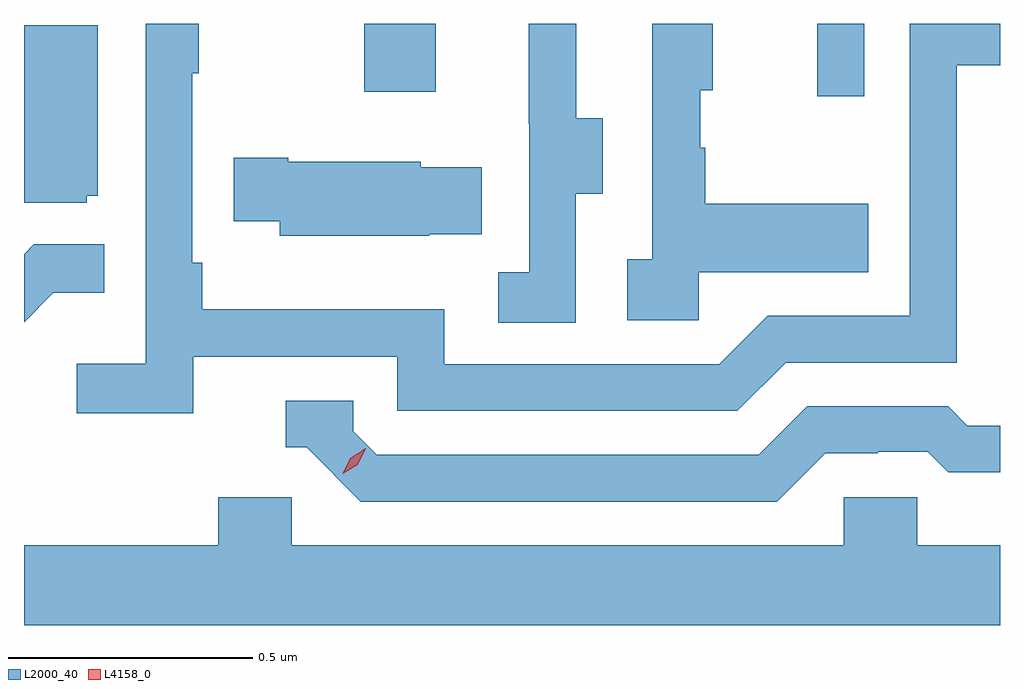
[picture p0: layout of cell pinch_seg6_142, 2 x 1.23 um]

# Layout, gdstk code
import gdstk
lib = gdstk.Library(unit=1e-6, precision=1e-09)
def R(c, l, rs):  # rectangles x0, y0, x1, y1
    for r in rs: c.add(gdstk.rectangle(r[:2], r[2:], *l))
def P(c, l, *ps):  # polygons
    for p in ps: c.add(gdstk.Polygon(p, *l))
L2000_40 = (2000, 40)
L4158_0 = (4158, 0)

pinch_seg6_142 = lib.new_cell('pinch_seg6_142')
R(pinch_seg6_142, L2000_40, [(999.698,917.784,999.795,917.932), (998.77,917.793,998.917,917.932)])
P(pinch_seg6_142, L2000_40, [(998.42,917.25),(998.838,917.25),(998.838,917.139),(999.535,917.139),(999.634,917.238),(999.984,917.238),(999.984,917.847),(1000.073,917.847),(1000.073,917.932),(999.888,917.932),(999.888,917.334),(999.597,917.334),(999.498,917.235),(998.934,917.235),(998.934,917.347),(998.438,917.347),(998.438,917.443),(998.418,917.443),(998.418,917.831),(998.431,917.831),(998.431,917.932),(998.322,917.932),(998.322,917.236),(998.181,917.236),(998.181,917.134),(998.42,917.134)],
  [(999.204,917.584),(999.259,917.584),(999.259,917.739),(999.205,917.739),(999.205,917.932),(999.107,917.932),(999.107,917.727),(999.108,917.727),(999.108,917.423),(999.045,917.423),(999.045,917.32),(999.204,917.32)],
  [(999.456,917.423),(999.803,917.423),(999.803,917.563),(999.469,917.563),(999.469,917.678),(999.459,917.678),(999.459,917.796),(999.484,917.796),(999.484,917.932),(999.36,917.932),(999.36,917.45),(999.309,917.45),(999.309,917.325),(999.456,917.325)],
  [(998.202,917.58),(998.224,917.58),(998.224,917.929),(998.073,917.929),(998.073,917.565),(998.202,917.565)],
  [(998.903,917.501),(999.011,917.501),(999.011,917.638),(998.886,917.638),(998.886,917.65),(998.614,917.65),(998.614,917.658),(998.503,917.658),(998.503,917.528),(998.597,917.528),(998.597,917.498),(998.903,917.498)],
  [(998.133,917.381),(998.237,917.381),(998.237,917.48),(998.093,917.48),(998.073,917.46),(998.073,917.321)],
  [(999.715,917.052),(999.822,917.052),(999.822,917.055),(999.925,917.055),(999.967,917.013),(1000.073,917.013),(1000.073,917.109),(1000.006,917.109),(999.967,917.148),(999.678,917.148),(999.579,917.049),(998.796,917.049),(998.748,917.097),(998.748,917.16),(998.609,917.16),(998.609,917.064),(998.652,917.064),(998.763,916.953),(999.616,916.953)],
  [(1000.073,916.864),(999.903,916.864),(999.903,916.962),(999.753,916.962),(999.753,916.864),(998.622,916.864),(998.622,916.962),(998.471,916.962),(998.471,916.864),(998.073,916.864),(998.073,916.7),(1000.073,916.7)])
P(pinch_seg6_142, L4158_0, [(998.726,917.01),(998.726,917.01),(998.742,917.042),(998.773,917.062),(998.773,917.062),(998.773,917.061),(998.757,917.029),(998.726,917.01)])

lib.write_gds('pinch_seg6_142.gds')
